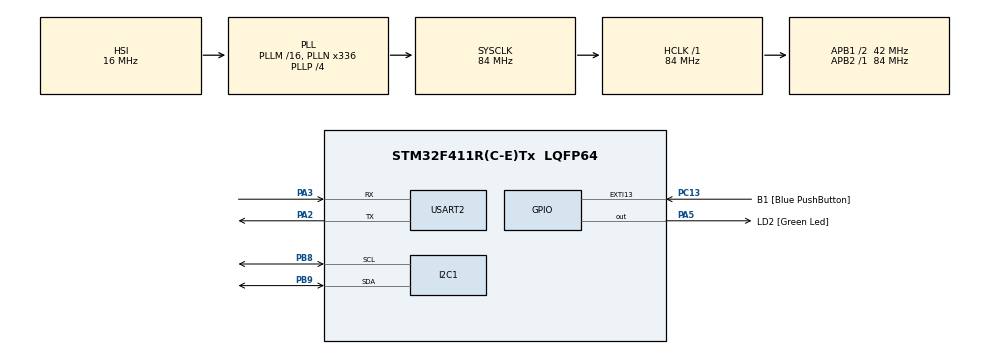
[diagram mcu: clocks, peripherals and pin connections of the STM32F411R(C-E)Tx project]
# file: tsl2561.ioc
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I2C1.I2C_Mode=I2C_Fast
Mcu.Family=STM32F4
Mcu.Name=STM32F411R(C-E)Tx
Mcu.Package=LQFP64
NVIC.PriorityGroup=NVIC_PRIORITYGROUP_0
PA13.GPIO_Label=TMS
PA13.Mode=Serial_Wire
PA13.Signal=SYS_JTMS-SWDIO
PA14.GPIO_Label=TCK
PA14.Mode=Serial_Wire
PA14.Signal=SYS_JTCK-SWCLK
PA2.Mode=Asynchronous
PA2.Signal=USART2_TX
PA3.Mode=Asynchronous
PA3.Signal=USART2_RX
PA5.GPIO_Label=LD2 [Green Led]
PA5.Signal=GPIO_Output
PB3.GPIO_Label=SWO
PB3.Signal=SYS_JTDO-SWO
PB8.Mode=I2C
PB8.Signal=I2C1_SCL
PB9.Mode=I2C
PB9.Signal=I2C1_SDA
PC13-ANTI_TAMP.GPIO_Label=B1 [Blue PushButton]
PC13-ANTI_TAMP.GPIO_ModeDefaultEXTI=GPIO_MODE_IT_FALLING
PC13-ANTI_TAMP.Signal=GPXTI13
PC14-OSC32_IN.Mode=LSE-External-Oscillator
PC14-OSC32_IN.Signal=RCC_OSC32_IN
PC15-OSC32_OUT.Mode=LSE-External-Oscillator
PC15-OSC32_OUT.Signal=RCC_OSC32_OUT
PH0\ -\ OSC_IN.Mode=HSE-External-Clock-Source
PH0\ -\ OSC_IN.Signal=RCC_OSC_IN
PH1\ -\ OSC_OUT.Mode=HSE-External-Clock-Source
PH1\ -\ OSC_OUT.Signal=RCC_OSC_OUT
ProjectManager.HeapSize=0x200
ProjectManager.StackSize=0x400
ProjectManager.TargetToolchain=STM32CubeIDE
RCC.48MHZClocksFreq_Value=84000000
RCC.AHBFreq_Value=84000000
RCC.APB1CLKDivider=RCC_HCLK_DIV2
RCC.APB1Freq_Value=42000000
RCC.APB1TimFreq_Value=84000000
RCC.APB2Freq_Value=84000000
RCC.APB2TimFreq_Value=84000000
RCC.CortexFreq_Value=84000000
RCC.FLatency-AdvancedSettings=FLASH_LATENCY_2
RCC.HCLKFreq_Value=84000000
RCC.HSE_VALUE=8000000
RCC.HSI_VALUE=16000000
RCC.PLLN=336
RCC.PLLP=RCC_PLLP_DIV4
RCC.SYSCLKFreq_VALUE=84000000
RCC.SYSCLKSource=RCC_SYSCLKSOURCE_PLLCLK
RCC.VCOOutputFreq_Value=336000000
USART2.VirtualMode=VM_ASYNC
board=NUCLEO-F411RE

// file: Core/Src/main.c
/* USER CODE BEGIN Header */
/**
 ******************************************************************************
 * @file           : main.c
 * @brief          : Main program body
 ******************************************************************************
 * @attention
 *
 * Copyright (c) 2024 STMicroelectronics.
 * All rights reserved.
 *
 * This software is licensed under terms that can be found in the LICENSE file
 * in the root directory of this software component.
 * If no LICENSE file comes with this software, it is provided AS-IS.
 *
 ******************************************************************************
 */
/* USER CODE END Header */
#include "main.h"
#include <string.h>		//for strlen and string_copy
#include <stdio.h>		//for sprintf
#include "math.h"		//for fourth root

I2C_HandleTypeDef hi2c1;

UART_HandleTypeDef huart2;

/* USER CODE BEGIN PV */
//static const uint8_t TSL2561_ADDR = 0x39; //default address scan with "I2C scanner"
static const uint8_t TSL2561_ADDR_W = 0x72; //0x39 << 1 to write shift by 1 and add 0
static const uint8_t TSL2561_ADDR_R = 0x73; //(0x39 << 1) | 0x01 to read shift by 1 and add 1

uint8_t buffer[200]; //buffer for sending and receiving data

uint16_t read_value_TSL2561_ch0_both;	//raw value, both infrared and visible
uint16_t read_value_TSL2561_ch1_infraRed;	//raw value, just infrared
uint8_t buffer_get_ch0[2];	//buffer for  both infrared and visible reading
uint8_t buffer_get_ch1[2];	//buffer for just infrared reading
uint8_t ControlRegister;
uint8_t id;
float lux;
uint8_t lihgting;

/* USER CODE END PV */

void SystemClock_Config(void);
static void MX_GPIO_Init(void);
static void MX_I2C1_Init(void);
static void MX_USART2_UART_Init(void);

int main(void) {

	/* USER CODE BEGIN 1 */
//	HAL_StatusTypeDef ret;
	/* USER CODE END 1 */

	/* MCU Configuration--------------------------------------------------------*/

	/* Reset of all peripherals, Initializes the Flash interface and the Systick. */
	HAL_Init();

	/* Configure the system clock */
	SystemClock_Config();

	/* Initialize all configured peripherals */
	MX_GPIO_Init();
	MX_I2C1_Init();
	MX_USART2_UART_Init();
	/* USER CODE BEGIN 2 */

	//to powered up --> manual 14 page " Control Register"
	uint8_t resetControlRegister = 0x03;

	HAL_I2C_Mem_Write(&hi2c1, TSL2561_ADDR_W, 0x80, 1, &resetControlRegister, 1,
			HAL_MAX_DELAY);
	HAL_Delay(500);
	//read sensor ID
	HAL_I2C_Mem_Read(&hi2c1, TSL2561_ADDR_R, 0x8A, 1, &id, 1, HAL_MAX_DELAY);
	// //wee should do this                          ^^^^^^^^
	sprintf((char*) buffer, "ID %d  \r\n", (id));
	//    ^^^^^^^^  wee should to do this
	HAL_UART_Transmit(&huart2, buffer, strlen((const char*) buffer),
			HAL_MAX_DELAY);

	/* USER CODE END 2 */

	/* Infinite loop */
	while (1) {

		/*After applying VDD, the device will initially be in the power-down state. To operate the device, issue a command
		 to access the CONTROL register followed by the data value 03h to power up the device. At this point, both ADC
		 channels will begin a conversion at the default integration time of 400 ms. After 400 ms, the conversion results
		 will be available in the DATA0 and DATA1 registers.*/
		//we do it before super loop
		/*One of the photodiodes 		(channel 0) is sensitive to both visible and infrared light, while the second
		 * photodiode (channel 1) is sensitive
		 primarily to infrared light.*/

		/* to calculate 'lux' there are formula in datasheet*/

		// Read 2 bytes from the channel 0
		HAL_I2C_Mem_Read(&hi2c1, TSL2561_ADDR_R, 0xEC, 1, &buffer_get_ch0[0], 1,
				HAL_MAX_DELAY);
		HAL_Delay(70);
		HAL_I2C_Mem_Read(&hi2c1, TSL2561_ADDR_R, 0xED, 1, &buffer_get_ch0[1], 1,
				HAL_MAX_DELAY);
		HAL_Delay(70);
		// Read 2 bytes from the channel 1
		HAL_I2C_Mem_Read(&hi2c1, TSL2561_ADDR_R, 0xEE, 1, &buffer_get_ch1[0], 1,
				HAL_MAX_DELAY);
		HAL_Delay(70);
		HAL_I2C_Mem_Read(&hi2c1, TSL2561_ADDR_R, 0xEF, 1, &buffer_get_ch1[1], 1,
				HAL_MAX_DELAY);
		HAL_Delay(70);

		//Combine the bytes
		read_value_TSL2561_ch0_both = 256 * buffer_get_ch0[1]
				+ buffer_get_ch0[0];
		read_value_TSL2561_ch1_infraRed = 256 * buffer_get_ch1[1]
				+ buffer_get_ch1[0];

		sprintf((char*) buffer, "\t Visible light %d  \t\t",
				(read_value_TSL2561_ch0_both));
		HAL_UART_Transmit(&huart2, buffer, strlen((const char*) buffer),
				HAL_MAX_DELAY);

		sprintf((char*) buffer, " %d Infra red  \r\n\n",
				(read_value_TSL2561_ch1_infraRed));
		HAL_UART_Transmit(&huart2, buffer, strlen((const char*) buffer),
				HAL_MAX_DELAY);

		//for type casting
		float read_value_TSL2561_ch0_both_float = read_value_TSL2561_ch0_both
				* 1.00;
		float read_value_TSL2561_ch1_infraRed_float =
				read_value_TSL2561_ch1_infraRed * 1.0;
		float ch1_from_ch0 = read_value_TSL2561_ch1_infraRed_float
				/ read_value_TSL2561_ch0_both_float;

		float fourth_root = sqrt(sqrt(ch1_from_ch0));

		if ((0 < ch1_from_ch0) && (ch1_from_ch0 <= 0.52)) {
			lux = 0.0315 * read_value_TSL2561_ch0_both
					- 0.0593 * read_value_TSL2561_ch0_both * fourth_root;
			lihgting = 100;
		}
		if ((0.52 < ch1_from_ch0) && (ch1_from_ch0 <= 0.65)) {
			lux = 0.0229 * read_value_TSL2561_ch0_both
					- 0.0291 * read_value_TSL2561_ch1_infraRed;
			lihgting = 75;
		}

		if ((0.65 < ch1_from_ch0) && (ch1_from_ch0 <= 0.80)) {
			lux = 0.0157 * read_value_TSL2561_ch0_both
					- 0.0180 * read_value_TSL2561_ch1_infraRed;
			lihgting = 50;
		}

		if ((0.80 < ch1_from_ch0) && (ch1_from_ch0 <= 1.30)) {
			lux = 0.00338 * read_value_TSL2561_ch0_both
					- 0.0026 * read_value_TSL2561_ch1_infraRed;
			lihgting = 25;
		}
		if ((ch1_from_ch0 > 1.30)) {
			lux = 0;
			lihgting = 0;
		}

//		sprintf((char*) buffer, "ch1 divided ch0 %.2f  \t\t", (ch1_from_ch0));
//		HAL_UART_Transmit(&huart2, buffer, strlen((const char*) buffer),
//				HAL_MAX_DELAY);
//
//		sprintf((char*) buffer, "lux %f   \t ", (lux));
//		HAL_UART_Transmit(&huart2, buffer, strlen((const char*) buffer),
//				HAL_MAX_DELAY);
//
//		sprintf((char*) buffer, "lihgting %d %% \r\n\n", lihgting);
//		HAL_UART_Transmit(&huart2, buffer, strlen((const char*) buffer),
//				HAL_MAX_DELAY);

		// Wait
		HAL_Delay(50);

	}
}

void SystemClock_Config(void) {
	RCC_OscInitTypeDef RCC_OscInitStruct = { 0 };
	RCC_ClkInitTypeDef RCC_ClkInitStruct = { 0 };

	/** Configure the main internal regulator output voltage
	 */
	__HAL_RCC_PWR_CLK_ENABLE();
	__HAL_PWR_VOLTAGESCALING_CONFIG(PWR_REGULATOR_VOLTAGE_SCALE1);

	/** Initializes the RCC Oscillators according to the specified parameters
	 * in the RCC_OscInitTypeDef structure.
	 */
	RCC_OscInitStruct.OscillatorType = RCC_OSCILLATORTYPE_HSI;
	RCC_OscInitStruct.HSIState = RCC_HSI_ON;
	RCC_OscInitStruct.HSICalibrationValue = RCC_HSICALIBRATION_DEFAULT;
	RCC_OscInitStruct.PLL.PLLState = RCC_PLL_ON;
	RCC_OscInitStruct.PLL.PLLSource = RCC_PLLSOURCE_HSI;
	RCC_OscInitStruct.PLL.PLLM = 16;
	RCC_OscInitStruct.PLL.PLLN = 336;
	RCC_OscInitStruct.PLL.PLLP = RCC_PLLP_DIV4;
	RCC_OscInitStruct.PLL.PLLQ = 4;
	if (HAL_RCC_OscConfig(&RCC_OscInitStruct) != HAL_OK) {
		Error_Handler();
	}

	/** Initializes the CPU, AHB and APB buses clocks
	 */
	RCC_ClkInitStruct.ClockType = RCC_CLOCKTYPE_HCLK | RCC_CLOCKTYPE_SYSCLK
			| RCC_CLOCKTYPE_PCLK1 | RCC_CLOCKTYPE_PCLK2;
	RCC_ClkInitStruct.SYSCLKSource = RCC_SYSCLKSOURCE_PLLCLK;
	RCC_ClkInitStruct.AHBCLKDivider = RCC_SYSCLK_DIV1;
	RCC_ClkInitStruct.APB1CLKDivider = RCC_HCLK_DIV2;
	RCC_ClkInitStruct.APB2CLKDivider = RCC_HCLK_DIV1;

	if (HAL_RCC_ClockConfig(&RCC_ClkInitStruct, FLASH_LATENCY_2) != HAL_OK) {
		Error_Handler();
	}
}

static void MX_I2C1_Init(void) {

	hi2c1.Instance = I2C1;
	hi2c1.Init.ClockSpeed = 100000;
	hi2c1.Init.DutyCycle = I2C_DUTYCYCLE_2;
	hi2c1.Init.OwnAddress1 = 0;
	hi2c1.Init.AddressingMode = I2C_ADDRESSINGMODE_7BIT;
	hi2c1.Init.DualAddressMode = I2C_DUALADDRESS_DISABLE;
	hi2c1.Init.OwnAddress2 = 0;
	hi2c1.Init.GeneralCallMode = I2C_GENERALCALL_DISABLE;
	hi2c1.Init.NoStretchMode = I2C_NOSTRETCH_DISABLE;
	if (HAL_I2C_Init(&hi2c1) != HAL_OK) {
		Error_Handler();
	}

}

static void MX_USART2_UART_Init(void) {

	huart2.Instance = USART2;
	huart2.Init.BaudRate = 115200;
	huart2.Init.WordLength = UART_WORDLENGTH_8B;
	huart2.Init.StopBits = UART_STOPBITS_1;
	huart2.Init.Parity = UART_PARITY_NONE;
	huart2.Init.Mode = UART_MODE_TX_RX;
	huart2.Init.HwFlowCtl = UART_HWCONTROL_NONE;
	huart2.Init.OverSampling = UART_OVERSAMPLING_16;
	if (HAL_UART_Init(&huart2) != HAL_OK) {
		Error_Handler();
	}

}

static void MX_GPIO_Init(void) {
	GPIO_InitTypeDef GPIO_InitStruct = { 0 };

	/* GPIO Ports Clock Enable */
	__HAL_RCC_GPIOC_CLK_ENABLE();
	__HAL_RCC_GPIOH_CLK_ENABLE();
	__HAL_RCC_GPIOA_CLK_ENABLE();
	__HAL_RCC_GPIOB_CLK_ENABLE();

	/*Configure GPIO pin Output Level */
	HAL_GPIO_WritePin(LD2_GPIO_Port, LD2_Pin, GPIO_PIN_RESET);

	/*Configure GPIO pin : B1_Pin */
	GPIO_InitStruct.Pin = B1_Pin;
	GPIO_InitStruct.Mode = GPIO_MODE_IT_FALLING;
	GPIO_InitStruct.Pull = GPIO_NOPULL;
	HAL_GPIO_Init(B1_GPIO_Port, &GPIO_InitStruct);

	/*Configure GPIO pin : LD2_Pin */
	GPIO_InitStruct.Pin = LD2_Pin;
	GPIO_InitStruct.Mode = GPIO_MODE_OUTPUT_PP;
	GPIO_InitStruct.Pull = GPIO_NOPULL;
	GPIO_InitStruct.Speed = GPIO_SPEED_FREQ_LOW;
	HAL_GPIO_Init(LD2_GPIO_Port, &GPIO_InitStruct);

}

void Error_Handler(void) {
	__disable_irq();
	while (1) {
	}
}
